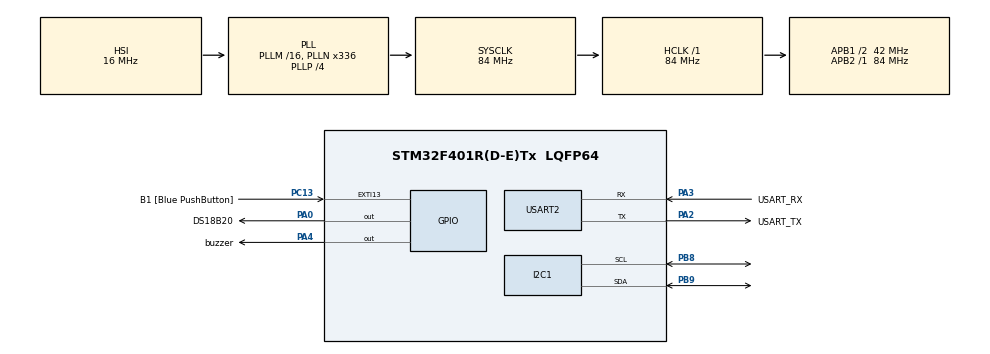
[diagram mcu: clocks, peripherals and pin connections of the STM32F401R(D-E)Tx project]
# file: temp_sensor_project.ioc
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Mcu.Family=STM32F4
Mcu.Name=STM32F401R(D-E)Tx
Mcu.Package=LQFP64
NVIC.PriorityGroup=NVIC_PRIORITYGROUP_4
NVIC.TIM1_UP_TIM10_IRQn=true\:0\:0\:false\:false\:true\:true\:true\:true
PA0-WKUP.GPIO_Label=DS18B20
PA0-WKUP.Signal=GPIO_Output
PA13.GPIO_Label=TMS
PA13.Mode=Trace_Asynchronous_SW
PA13.Signal=SYS_JTMS-SWDIO
PA14.GPIO_Label=TCK
PA14.Mode=Trace_Asynchronous_SW
PA14.Signal=SYS_JTCK-SWCLK
PA2.GPIO_Label=USART_TX
PA2.GPIO_Mode=GPIO_MODE_AF_PP
PA2.GPIO_PuPd=GPIO_NOPULL
PA2.GPIO_Speed=GPIO_SPEED_FREQ_LOW
PA2.Mode=Asynchronous
PA2.Signal=USART2_TX
PA3.GPIO_Label=USART_RX
PA3.GPIO_Mode=GPIO_MODE_AF_PP
PA3.GPIO_PuPd=GPIO_NOPULL
PA3.GPIO_Speed=GPIO_SPEED_FREQ_LOW
PA3.Mode=Asynchronous
PA3.Signal=USART2_RX
PA4.GPIO_Label=buzzer
PA4.Signal=GPIO_Output
PB3.GPIO_Label=SWO
PB3.Mode=Trace_Asynchronous_SW
PB3.Signal=SYS_JTDO-SWO
PB8.Mode=I2C
PB8.Signal=I2C1_SCL
PB9.Mode=I2C
PB9.Signal=I2C1_SDA
PC13-ANTI_TAMP.GPIO_Label=B1 [Blue PushButton]
PC13-ANTI_TAMP.GPIO_ModeDefaultEXTI=GPIO_MODE_IT_FALLING
PC13-ANTI_TAMP.GPIO_PuPd=GPIO_NOPULL
PC13-ANTI_TAMP.Signal=GPXTI13
PC14-OSC32_IN.Mode=LSE-External-Oscillator
PC14-OSC32_IN.Signal=RCC_OSC32_IN
PC15-OSC32_OUT.Mode=LSE-External-Oscillator
PC15-OSC32_OUT.Signal=RCC_OSC32_OUT
PH0\ -\ OSC_IN.Mode=HSE-External-Clock-Source
PH0\ -\ OSC_IN.Signal=RCC_OSC_IN
PH1\ -\ OSC_OUT.Mode=HSE-External-Clock-Source
PH1\ -\ OSC_OUT.Signal=RCC_OSC_OUT
ProjectManager.HeapSize=0x200
ProjectManager.StackSize=0x400
ProjectManager.TargetToolchain=STM32CubeIDE
RCC.48MHZClocksFreq_Value=48000000
RCC.AHBFreq_Value=84000000
RCC.APB1CLKDivider=RCC_HCLK_DIV2
RCC.APB1Freq_Value=42000000
RCC.APB1TimFreq_Value=84000000
RCC.APB2Freq_Value=84000000
RCC.APB2TimFreq_Value=84000000
RCC.CortexFreq_Value=84000000
RCC.HCLKFreq_Value=84000000
RCC.HSE_VALUE=8000000
RCC.HSI_VALUE=16000000
RCC.PLLN=336
RCC.PLLP=RCC_PLLP_DIV4
RCC.PLLQ=7
RCC.SYSCLKFreq_VALUE=84000000
RCC.SYSCLKSource=RCC_SYSCLKSOURCE_PLLCLK
RCC.VCOOutputFreq_Value=336000000
TIM1.Prescaler=83
USART2.VirtualMode=VM_ASYNC
VP_TIM1_VS_ClockSourceINT.Mode=Internal
board=NUCLEO-F401RE

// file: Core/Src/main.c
/* USER CODE BEGIN Header */
/**
  ******************************************************************************
  * @file           : main.c
  * @brief          : Main program body
  ******************************************************************************
  * @attention
  *
  * Copyright (c) 2026 STMicroelectronics.
  * All rights reserved.
  *
  * This software is licensed under terms that can be found in the LICENSE file
  * in the root directory of this software component.
  * If no LICENSE file comes with this software, it is provided AS-IS.
  *
  ******************************************************************************
  */
/* USER CODE END Header */
#include "main.h"

/* USER CODE BEGIN Includes */
#include <stdio.h>
#include "ds18b20.h"
#include "lcd_i2c.h"
/* USER CODE END Includes */

/* USER CODE BEGIN PD */
//#define RUN_TEST
#define RUN_MAIN
/* USER CODE END PD */

I2C_HandleTypeDef hi2c1;

TIM_HandleTypeDef htim1;

UART_HandleTypeDef huart2;

void SystemClock_Config(void);
static void MX_GPIO_Init(void);
static void MX_I2C1_Init(void);
static void MX_TIM1_Init(void);
static void MX_USART2_UART_Init(void);

/* USER CODE BEGIN 0 */
//UART debugging
/*int __io_putchar(int ch){
    HAL_UART_Transmit(&huart2, (uint8_t*)&ch, 1, 100);
    return ch;
}*/
int __io_putchar(int ch) {
    // Wait for TXE (Transmit Data Register Empty)
    while (!(USART2->SR & USART_SR_TXE));
    HAL_UART_Transmit(&huart2, (uint8_t*)&ch, 1, HAL_MAX_DELAY);
    return ch;
}
//buzzer functions
/*
void Buzzer_On(){
    HAL_GPIO_WritePin(GPIOA, GPIO_PIN_4, GPIO_PIN_SET);
}
void Buzzer_Off(){
    HAL_GPIO_WritePin(GPIOA, GPIO_PIN_4, GPIO_PIN_RESET);
}*/
/*void Buzzer_On(){
    HAL_GPIO_WritePin(buzzer_GPIO_Port, buzzer_Pin, GPIO_PIN_SET);
}
void Buzzer_Off(){
    HAL_GPIO_WritePin(buzzer_GPIO_Port, buzzer_Pin, GPIO_PIN_RESET);
}*/
void Buzzer_On(void){
    // Use the raw Port and Pin address to be 100% sure
    HAL_GPIO_WritePin(GPIOA, GPIO_PIN_4, GPIO_PIN_SET);
}

void Buzzer_Off(){
    HAL_GPIO_WritePin(GPIOA, GPIO_PIN_4, GPIO_PIN_RESET);
}
/* USER CODE END 0 */

int main(void)
{

  /* MCU Configuration--------------------------------------------------------*/

  /* Reset of all peripherals, Initializes the Flash interface and the Systick. */
  HAL_Init();

  /* Configure the system clock */
  SystemClock_Config();

  /* Initialize all configured peripherals */
  MX_GPIO_Init();
  MX_I2C1_Init();
  MX_TIM1_Init();
  MX_USART2_UART_Init();
  /* USER CODE BEGIN 2 */
  HAL_TIM_Base_Start(&htim1);
  // BUZZER DIRECT TEST

  printf("TIM START OK\r\n");
#ifdef RUN_TEST
    // Run test and exit
    test_main();
    while(1) {
            HAL_Delay(1000);
        }
 #endif

#ifdef RUN_MAIN
  //HAL_TIM_Base_Start(&htim1);
    printf("\n[SCANNER] Searching for I2C devices...\r\n");

    uint8_t found_count = 0;
    for(uint8_t i = 0x00; i < 0x80; i++) {
      HAL_StatusTypeDef status = HAL_I2C_IsDeviceReady(&hi2c1, (i << 1), 1, 10);
      if(status == HAL_OK) {
        printf("[FOUND] Device at 0x%02X\r\n", i);
        found_count++;
      }
    }
    printf("[SCANNER] Total devices found: %d\r\n", found_count);

    if(found_count == 0) {
      printf("[ERROR] NO I2C DEVICES FOUND - HARDWARE PROBLEM!\r\n");
      printf("Check: SDA/SCL wiring, pull-up resistors, LCD power\r\n");
    }

      printf("[SCANNER] Done\r\n\r\n");

      //printf("[DEBUG] About to call LCD_Init...\r\n");
      LCD_Init();
      //printf("[DEBUG] LCD_Init skipped\r\n");
      LCD_Clear();
      LCD_SetCursor(0, 0);
     LCD_Print("System Ready!");
      //printf("[DEBUG] Ready for main loop\r\n");
      HAL_Delay(2000);
  /* USER CODE END 2 */

  /* Infinite loop */
  /* USER CODE BEGIN WHILE */
	  while(1){
	          //reading sensor temperature
	          float temp = DS18B20_GetTemperature();
	          printf("Temperature: %.2f C\r\n", temp);

	          //displaying on LCD
	          LCD_Clear();
	          LCD_SetCursor(0, 0);
	          LCD_Print("Temp: ");
	          //convert float to string for LCD
	          char buffer[16];
	          sprintf(buffer, "%.2f C", temp);
	          LCD_Print(buffer);

	          //checking alarm condition
	          if(temp >= 45.0){
	              Buzzer_On();
	              LCD_SetCursor(1, 0); //second line
	              LCD_Print("ALERT! Too Hot! ");
	              printf("ALERT! Temp too high!\r\n");
	          }
	          else if(temp <= 15.0){
	              Buzzer_On();
	              LCD_SetCursor(1, 0);
	              LCD_Print("ALERT! Too Cold!");
	              printf("ALERT! Temp too low!\r\n");
	          }
	          else { //normal temp
	              Buzzer_Off();
	              LCD_SetCursor(1, 0);
	              LCD_Print("Status: Normal ");
	              printf("Temp normal\r\n");
	          }

	          //wait 1 second before next reading , paces the main loop
	          HAL_Delay(1000);
	  	/*Loop runs thousands of times per second
	  	Sensor gets hammered with read requests (bad)
	  	LCD flickers constantly (bad UX)
	  	Power consumption spikes (bad battery life)
	  	Temperature readings might be garbage (sensor hasn't settled)
	  	*/

	      }
    /* USER CODE END WHILE */

    /* USER CODE BEGIN 3 */
#endif  /* RUN_MAIN */

}
  /* USER CODE END 3 */

void SystemClock_Config(void)
{
  RCC_OscInitTypeDef RCC_OscInitStruct = {0};
  RCC_ClkInitTypeDef RCC_ClkInitStruct = {0};

  /** Configure the main internal regulator output voltage
  */
  __HAL_RCC_PWR_CLK_ENABLE();
  __HAL_PWR_VOLTAGESCALING_CONFIG(PWR_REGULATOR_VOLTAGE_SCALE2);

  /** Initializes the RCC Oscillators according to the specified parameters
  * in the RCC_OscInitTypeDef structure.
  */
  RCC_OscInitStruct.OscillatorType = RCC_OSCILLATORTYPE_HSI;
  RCC_OscInitStruct.HSIState = RCC_HSI_ON;
  RCC_OscInitStruct.HSICalibrationValue = RCC_HSICALIBRATION_DEFAULT;
  RCC_OscInitStruct.PLL.PLLState = RCC_PLL_ON;
  RCC_OscInitStruct.PLL.PLLSource = RCC_PLLSOURCE_HSI;
  RCC_OscInitStruct.PLL.PLLM = 16;
  RCC_OscInitStruct.PLL.PLLN = 336;
  RCC_OscInitStruct.PLL.PLLP = RCC_PLLP_DIV4;
  RCC_OscInitStruct.PLL.PLLQ = 7;
  if (HAL_RCC_OscConfig(&RCC_OscInitStruct) != HAL_OK)
  {
    Error_Handler();
  }

  /** Initializes the CPU, AHB and APB buses clocks
  */
  RCC_ClkInitStruct.ClockType = RCC_CLOCKTYPE_HCLK|RCC_CLOCKTYPE_SYSCLK
                              |RCC_CLOCKTYPE_PCLK1|RCC_CLOCKTYPE_PCLK2;
  RCC_ClkInitStruct.SYSCLKSource = RCC_SYSCLKSOURCE_PLLCLK;
  RCC_ClkInitStruct.AHBCLKDivider = RCC_SYSCLK_DIV1;
  RCC_ClkInitStruct.APB1CLKDivider = RCC_HCLK_DIV2;
  RCC_ClkInitStruct.APB2CLKDivider = RCC_HCLK_DIV1;

  if (HAL_RCC_ClockConfig(&RCC_ClkInitStruct, FLASH_LATENCY_2) != HAL_OK)
  {
    Error_Handler();
  }
}

static void MX_I2C1_Init(void)
{

  hi2c1.Instance = I2C1;
  hi2c1.Init.ClockSpeed = 100000;
  hi2c1.Init.DutyCycle = I2C_DUTYCYCLE_2;
  hi2c1.Init.OwnAddress1 = 0;
  hi2c1.Init.AddressingMode = I2C_ADDRESSINGMODE_7BIT;
  hi2c1.Init.DualAddressMode = I2C_DUALADDRESS_DISABLE;
  hi2c1.Init.OwnAddress2 = 0;
  hi2c1.Init.GeneralCallMode = I2C_GENERALCALL_DISABLE;
  hi2c1.Init.NoStretchMode = I2C_NOSTRETCH_DISABLE;
  if (HAL_I2C_Init(&hi2c1) != HAL_OK)
  {
    Error_Handler();
  }

}

static void MX_TIM1_Init(void)
{

  TIM_ClockConfigTypeDef sClockSourceConfig = {0};
  TIM_MasterConfigTypeDef sMasterConfig = {0};

  htim1.Instance = TIM1;
  htim1.Init.Prescaler = 83;
  htim1.Init.CounterMode = TIM_COUNTERMODE_UP;
  htim1.Init.Period = 65535;
  htim1.Init.ClockDivision = TIM_CLOCKDIVISION_DIV1;
  htim1.Init.RepetitionCounter = 0;
  htim1.Init.AutoReloadPreload = TIM_AUTORELOAD_PRELOAD_DISABLE;
  if (HAL_TIM_Base_Init(&htim1) != HAL_OK)
  {
    Error_Handler();
  }
  sClockSourceConfig.ClockSource = TIM_CLOCKSOURCE_INTERNAL;
  if (HAL_TIM_ConfigClockSource(&htim1, &sClockSourceConfig) != HAL_OK)
  {
    Error_Handler();
  }
  sMasterConfig.MasterOutputTrigger = TIM_TRGO_RESET;
  sMasterConfig.MasterSlaveMode = TIM_MASTERSLAVEMODE_DISABLE;
  if (HAL_TIMEx_MasterConfigSynchronization(&htim1, &sMasterConfig) != HAL_OK)
  {
    Error_Handler();
  }

}

static void MX_USART2_UART_Init(void)
{

  huart2.Instance = USART2;
  huart2.Init.BaudRate = 115200;
  huart2.Init.WordLength = UART_WORDLENGTH_8B;
  huart2.Init.StopBits = UART_STOPBITS_1;
  huart2.Init.Parity = UART_PARITY_NONE;
  huart2.Init.Mode = UART_MODE_TX_RX;
  huart2.Init.HwFlowCtl = UART_HWCONTROL_NONE;
  huart2.Init.OverSampling = UART_OVERSAMPLING_16;
  if (HAL_UART_Init(&huart2) != HAL_OK)
  {
    Error_Handler();
  }

}

static void MX_GPIO_Init(void)
{
  GPIO_InitTypeDef GPIO_InitStruct = {0};

  /* GPIO Ports Clock Enable */
  __HAL_RCC_GPIOC_CLK_ENABLE();
  __HAL_RCC_GPIOH_CLK_ENABLE();
  __HAL_RCC_GPIOA_CLK_ENABLE();
  __HAL_RCC_GPIOB_CLK_ENABLE();

  /*Configure GPIO pin Output Level */
  HAL_GPIO_WritePin(GPIOA, DS18B20_Pin|buzzer_Pin, GPIO_PIN_RESET);

  /*Configure GPIO pin : B1_Pin */
  GPIO_InitStruct.Pin = B1_Pin;
  GPIO_InitStruct.Mode = GPIO_MODE_IT_FALLING;
  GPIO_InitStruct.Pull = GPIO_NOPULL;
  HAL_GPIO_Init(B1_GPIO_Port, &GPIO_InitStruct);

  /*Configure GPIO pins : DS18B20_Pin buzzer_Pin */
  GPIO_InitStruct.Pin = DS18B20_Pin|buzzer_Pin;
  GPIO_InitStruct.Mode = GPIO_MODE_OUTPUT_PP;
  GPIO_InitStruct.Pull = GPIO_NOPULL;
  GPIO_InitStruct.Speed = GPIO_SPEED_FREQ_LOW;
  //GPIO_InitStruct.Speed = GPIO_SPEED_FREQ_VERY_HIGH;
  HAL_GPIO_Init(GPIOA, &GPIO_InitStruct);

}

void Error_Handler(void)
{
  __disable_irq();
  while (1)
  {
  }
}
